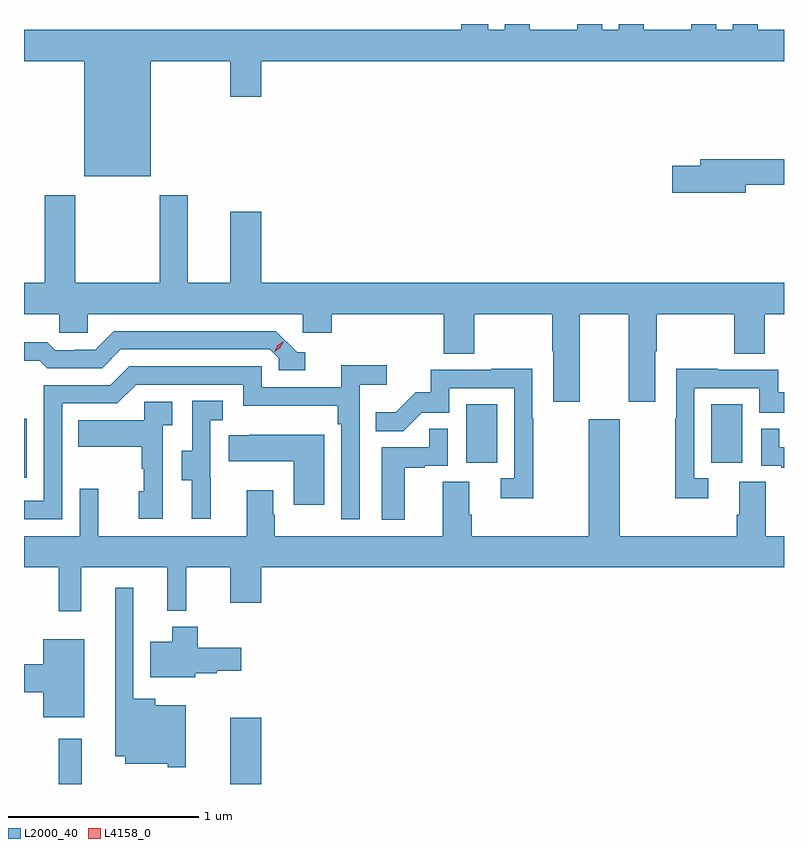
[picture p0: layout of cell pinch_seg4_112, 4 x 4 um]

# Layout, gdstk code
import gdstk
lib = gdstk.Library(unit=1e-6, precision=1e-09)
def R(c, l, rs):  # rectangles x0, y0, x1, y1
    for r in rs: c.add(gdstk.rectangle(r[:2], r[2:], *l))
def P(c, l, *ps):  # polygons
    for p in ps: c.add(gdstk.Polygon(p, *l))
L2000_40 = (2000, 40)
L4158_0 = (4158, 0)

pinch_seg4_112 = lib.new_cell('pinch_seg4_112')
R(pinch_seg4_112, L2000_40, [(1075.195,789.019,1075.314,789.256), (1076.096,789.019,1076.26,789.367), (1075.011,790.632,1075.026,790.942), (1077.338,790.71,1077.502,791.017), (1078.628,790.71,1078.792,791.017)])
P(pinch_seg4_112, L2000_40, [(1075.678,792.824),(1076.096,792.824),(1076.096,792.636),(1076.26,792.636),(1076.26,792.824),(1079.011,792.824),(1079.011,792.988),(1078.873,792.988),(1078.873,793.019),(1078.742,793.019),(1078.742,792.988),(1078.654,792.988),(1078.654,793.019),(1078.523,793.019),(1078.523,792.988),(1078.273,792.988),(1078.273,793.019),(1078.142,793.019),(1078.142,792.988),(1078.054,792.988),(1078.054,793.019),(1077.923,793.019),(1077.923,792.988),(1077.673,792.988),(1077.673,793.019),(1077.542,793.019),(1077.542,792.988),(1077.454,792.988),(1077.454,793.019),(1077.311,793.019),(1077.311,792.988),(1075.011,792.988),(1075.011,792.824),(1075.328,792.824),(1075.328,792.218),(1075.678,792.218)],
  [(1078.81,792.172),(1079.011,792.172),(1079.011,792.308),(1078.571,792.308),(1078.571,792.272),(1078.422,792.272),(1078.422,792.13),(1078.81,792.13)],
  [(1077.937,791.492),(1078.193,791.492),(1078.193,791.031),(1078.333,791.031),(1078.333,791.296),(1078.341,791.296),(1078.341,791.492),(1078.75,791.492),(1078.75,791.284),(1078.91,791.284),(1078.91,791.492),(1079.011,791.492),(1079.011,791.656),(1076.26,791.656),(1076.26,792.031),(1076.096,792.031),(1076.096,791.656),(1075.873,791.656),(1075.873,792.118),(1075.726,792.118),(1075.726,791.656),(1075.281,791.656),(1075.281,792.118),(1075.121,792.118),(1075.121,791.656),(1075.011,791.656),(1075.011,791.492),(1075.197,791.492),(1075.197,791.394),(1075.347,791.394),(1075.347,791.492),(1076.478,791.492),(1076.478,791.394),(1076.63,791.394),(1076.63,791.492),(1077.221,791.492),(1077.221,791.284),(1077.381,791.284),(1077.381,791.492),(1077.79,791.492),(1077.79,791.296),(1077.797,791.296),(1077.797,791.031),(1077.937,791.031)],
  [(1076.491,791.292),(1076.448,791.292),(1076.337,791.403),(1075.484,791.403),(1075.385,791.304),(1075.278,791.304),(1075.278,791.301),(1075.175,791.301),(1075.133,791.344),(1075.011,791.344),(1075.011,791.247),(1075.094,791.247),(1075.133,791.208),(1075.422,791.208),(1075.521,791.307),(1076.304,791.307),(1076.352,791.259),(1076.352,791.196),(1076.491,791.196)],
  [(1075.212,791.022),(1075.503,791.022),(1075.602,791.121),(1076.166,791.121),(1076.166,791.009),(1076.662,791.009),(1076.662,790.913),(1076.682,790.913),(1076.682,790.413),(1076.778,790.413),(1076.778,791.12),(1076.92,791.12),(1076.92,791.222),(1076.681,791.222),(1076.681,791.106),(1076.262,791.106),(1076.262,791.217),(1075.565,791.217),(1075.466,791.118),(1075.116,791.118),(1075.116,790.509),(1075.011,790.509),(1075.011,790.413),(1075.212,790.413)],
  [(1078.612,790.629),(1078.539,790.629),(1078.539,791.103),(1078.881,791.103),(1078.881,790.974),(1079.011,790.974),(1079.011,791.082),(1078.98,791.082),(1078.98,791.199),(1078.661,791.199),(1078.661,791.204),(1078.443,791.204),(1078.443,790.943),(1078.438,790.943),(1078.438,790.524),(1078.612,790.524)],
  [(1077.692,790.943),(1077.687,790.943),(1077.687,791.204),(1077.469,791.204),(1077.469,791.199),(1077.151,791.199),(1077.151,791.082),(1077.074,791.082),(1076.967,790.975),(1076.863,790.975),(1076.863,790.876),(1077.006,790.876),(1077.104,790.974),(1077.249,790.974),(1077.249,791.103),(1077.591,791.103),(1077.591,790.629),(1077.519,790.629),(1077.519,790.524),(1077.692,790.524)],
  [(1075.994,790.629),(1075.992,790.629),(1075.992,790.933),(1076.056,790.933),(1076.056,791.036),(1075.896,791.036),(1075.896,790.773),(1075.841,790.773),(1075.841,790.618),(1075.895,790.618),(1075.895,790.416),(1075.994,790.416)],
  [(1075.74,790.907),(1075.792,790.907),(1075.792,791.031),(1075.644,791.031),(1075.644,790.933),(1075.297,790.933),(1075.297,790.793),(1075.632,790.793),(1075.632,790.679),(1075.642,790.679),(1075.642,790.56),(1075.616,790.56),(1075.616,790.416),(1075.74,790.416)],
  [(1075.313,790.16),(1075.766,790.16),(1075.766,789.932),(1075.866,789.932),(1075.866,790.16),(1076.096,790.16),(1076.096,789.972),(1076.26,789.972),(1076.26,790.16),(1079.011,790.16),(1079.011,790.324),(1078.915,790.324),(1078.915,790.61),(1078.775,790.61),(1078.775,790.436),(1078.763,790.436),(1078.763,790.324),(1078.147,790.324),(1078.147,790.939),(1077.983,790.939),(1077.983,790.324),(1077.368,790.324),(1077.368,790.436),(1077.355,790.436),(1077.355,790.61),(1077.215,790.61),(1077.215,790.324),(1076.331,790.324),(1076.331,790.436),(1076.323,790.436),(1076.323,790.564),(1076.183,790.564),(1076.183,790.324),(1075.403,790.324),(1075.403,790.573),(1075.305,790.573),(1075.305,790.324),(1075.011,790.324),(1075.011,790.16),(1075.195,790.16),(1075.195,789.927),(1075.313,789.927)],
  [(1079.011,790.791),(1078.985,790.791),(1078.985,790.889),(1078.89,790.889),(1078.89,790.695),(1078.997,790.695),(1078.997,790.683),(1079.011,790.683)],
  [(1077.016,790.683),(1077.119,790.683),(1077.119,790.695),(1077.24,790.695),(1077.24,790.889),(1077.145,790.889),(1077.145,790.791),(1076.894,790.791),(1076.894,790.409),(1077.016,790.409)],
  [(1076.59,790.858),(1076.197,790.858),(1076.197,790.855),(1076.089,790.855),(1076.089,790.718),(1076.432,790.718),(1076.432,790.488),(1076.59,790.488)],
  [(1075.861,789.433),(1075.702,789.433),(1075.702,789.469),(1075.587,789.469),(1075.587,790.051),(1075.49,790.051),(1075.49,789.164),(1075.544,789.164),(1075.544,789.125),(1075.767,789.125),(1075.767,789.107),(1075.861,789.107)],
  [(1075.912,789.602),(1076.025,789.602),(1076.025,789.614),(1076.155,789.614),(1076.155,789.736),(1075.925,789.736),(1075.925,789.847),(1075.79,789.847),(1075.79,789.769),(1075.676,789.769),(1075.676,789.581),(1075.912,789.581)],
  [(1075.327,789.781),(1075.112,789.781),(1075.112,789.65),(1075.011,789.65),(1075.011,789.503),(1075.112,789.503),(1075.112,789.371),(1075.327,789.371)])
P(pinch_seg4_112, L4158_0, [(1076.327,791.294),(1076.327,791.294),(1076.343,791.326),(1076.374,791.346),(1076.375,791.346),(1076.375,791.345),(1076.358,791.313),(1076.327,791.294)])

lib.write_gds('pinch_seg4_112.gds')
